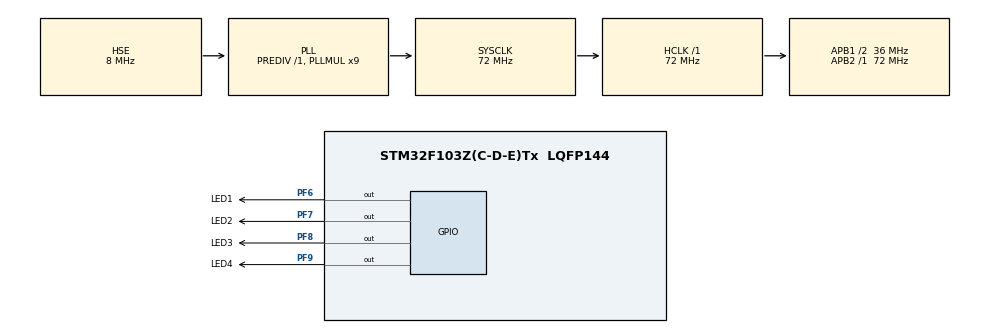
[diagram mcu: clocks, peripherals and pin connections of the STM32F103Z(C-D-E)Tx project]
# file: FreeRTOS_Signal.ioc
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FREERTOS.INCLUDE_eTaskGetState=0
FREERTOS.INCLUDE_vTaskDelayUntil=1
FREERTOS.Tasks01=firstLEDTask,0,128,StartFirstLEDTask,Default;secondLEDTask,-3,128,StartSecondLEDTask,Default;signalGenerator,-3,128,StartSignalGenerator,Default
Mcu.Family=STM32F1
Mcu.Name=STM32F103Z(C-D-E)Tx
Mcu.Package=LQFP144
NVIC.PriorityGroup=NVIC_PRIORITYGROUP_4
NVIC.TIM1_UP_IRQn=true\:0\:0\:false\:false\:true\:false
NVIC.TimeBase=TIM1_UP_IRQn
NVIC.TimeBaseIP=TIM1
OSC_IN.Mode=HSE-External-Oscillator
OSC_IN.Signal=RCC_OSC_IN
OSC_OUT.Mode=HSE-External-Oscillator
OSC_OUT.Signal=RCC_OSC_OUT
PF6.GPIO_Label=LED1
PF6.Signal=GPIO_Output
PF7.GPIO_Label=LED2
PF7.Signal=GPIO_Output
PF8.GPIO_Label=LED3
PF8.Signal=GPIO_Output
PF9.GPIO_Label=LED4
PF9.Signal=GPIO_Output
ProjectManager.HeapSize=0x200
ProjectManager.StackSize=0x400
ProjectManager.TargetToolchain=MDK-ARM V5
RCC.AHBFreq_Value=72000000
RCC.APB1CLKDivider=RCC_HCLK_DIV2
RCC.APB1Freq_Value=36000000
RCC.APB1TimFreq_Value=72000000
RCC.APB2Freq_Value=72000000
RCC.APB2TimFreq_Value=72000000
RCC.HCLKFreq_Value=72000000
RCC.HSIState=RCC_HSI_ON
RCC.PLLMUL=RCC_PLL_MUL9
RCC.PLLSourceVirtual=RCC_PLLSOURCE_HSE
RCC.SYSCLKFreq_VALUE=72000000
RCC.SYSCLKSource=RCC_SYSCLKSOURCE_PLLCLK
RCC.USBFreq_Value=72000000
VP_FREERTOS_VS_ENABLE.Mode=Enabled
VP_SYS_VS_ND.Mode=No_Debug
VP_SYS_VS_tim1.Mode=TIM1
board=FreeRTOS_Signal

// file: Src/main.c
/**
  ******************************************************************************
  * File Name          : main.c
  * Description        : Main program body
  ******************************************************************************
  *
  * Copyright (c) 2016 STMicroelectronics International N.V.
  * All rights reserved.
  *
  * Redistribution and use in source and binary forms, with or without
  * modification, are permitted, provided that the following conditions are met:
  *
  * 1. Redistribution of source code must retain the above copyright notice,
  *    this list of conditions and the following disclaimer.
  * 2. Redistributions in binary form must reproduce the above copyright notice,
  *    this list of conditions and the following disclaimer in the documentation
  *    and/or other materials provided with the distribution.
  * 3. Neither the name of STMicroelectronics nor the names of other
  *    contributors to this software may be used to endorse or promote products
  *    derived from this software without specific written permission.
  * 4. This software, including modifications and/or derivative works of this
  *    software, must execute solely and exclusively on microcontroller or
  *    microprocessor devices manufactured by or for STMicroelectronics.
  * 5. Redistribution and use of this software other than as permitted under
  *    this license is void and will automatically terminate your rights under
  *    this license.
  *
  * THIS SOFTWARE IS PROVIDED BY STMICROELECTRONICS AND CONTRIBUTORS "AS IS"
  * AND ANY EXPRESS, IMPLIED OR STATUTORY WARRANTIES, INCLUDING, BUT NOT
  * LIMITED TO, THE IMPLIED WARRANTIES OF MERCHANTABILITY, FITNESS FOR A
  * PARTICULAR PURPOSE AND NON-INFRINGEMENT OF THIRD PARTY INTELLECTUAL PROPERTY
  * RIGHTS ARE DISCLAIMED TO THE FULLEST EXTENT PERMITTED BY LAW. IN NO EVENT
  * SHALL STMICROELECTRONICS OR CONTRIBUTORS BE LIABLE FOR ANY DIRECT, INDIRECT,
  * INCIDENTAL, SPECIAL, EXEMPLARY, OR CONSEQUENTIAL DAMAGES (INCLUDING, BUT NOT
  * LIMITED TO, PROCUREMENT OF SUBSTITUTE GOODS OR SERVICES; LOSS OF USE, DATA,
  * OR PROFITS; OR BUSINESS INTERRUPTION) HOWEVER CAUSED AND ON ANY THEORY OF
  * LIABILITY, WHETHER IN CONTRACT, STRICT LIABILITY, OR TORT (INCLUDING
  * NEGLIGENCE OR OTHERWISE) ARISING IN ANY WAY OUT OF THE USE OF THIS SOFTWARE,
  * EVEN IF ADVISED OF THE POSSIBILITY OF SUCH DAMAGE.
  *
  ******************************************************************************
  */
#include "main.h"
#include "stm32f1xx_hal.h"
#include "cmsis_os.h"
#include "gpio.h"

/* USER CODE BEGIN PV */
/* Private variables ---------------------------------------------------------*/

/* USER CODE END PV */

void SystemClock_Config(void);
void Error_Handler(void);
void MX_FREERTOS_Init(void);

/* USER CODE BEGIN PFP */
/* Private function prototypes -----------------------------------------------*/

/* USER CODE END PFP */

int main(void)
{

  /* MCU Configuration----------------------------------------------------------*/

  /* Reset of all peripherals, Initializes the Flash interface and the Systick. */
  HAL_Init();

  /* Configure the system clock */
  SystemClock_Config();

  /* Initialize all configured peripherals */
  MX_GPIO_Init();

  /* Call init function for freertos objects (in freertos.c) */
  MX_FREERTOS_Init();

  /* Start scheduler */
  osKernelStart();

  /* We should never get here as control is now taken by the scheduler */

  /* Infinite loop */
  while (1)
  {

  }

}

/** System Clock Configuration
*/
void SystemClock_Config(void)
{

  RCC_OscInitTypeDef RCC_OscInitStruct;
  RCC_ClkInitTypeDef RCC_ClkInitStruct;

    /**Initializes the CPU, AHB and APB busses clocks
    */
  RCC_OscInitStruct.OscillatorType = RCC_OSCILLATORTYPE_HSE;
  RCC_OscInitStruct.HSEState = RCC_HSE_ON;
  RCC_OscInitStruct.HSEPredivValue = RCC_HSE_PREDIV_DIV1;
  RCC_OscInitStruct.HSIState = RCC_HSI_ON;
  RCC_OscInitStruct.PLL.PLLState = RCC_PLL_ON;
  RCC_OscInitStruct.PLL.PLLSource = RCC_PLLSOURCE_HSE;
  RCC_OscInitStruct.PLL.PLLMUL = RCC_PLL_MUL9;
  if (HAL_RCC_OscConfig(&RCC_OscInitStruct) != HAL_OK)
  {
    Error_Handler();
  }

    /**Initializes the CPU, AHB and APB busses clocks
    */
  RCC_ClkInitStruct.ClockType = RCC_CLOCKTYPE_HCLK|RCC_CLOCKTYPE_SYSCLK
                              |RCC_CLOCKTYPE_PCLK1|RCC_CLOCKTYPE_PCLK2;
  RCC_ClkInitStruct.SYSCLKSource = RCC_SYSCLKSOURCE_PLLCLK;
  RCC_ClkInitStruct.AHBCLKDivider = RCC_SYSCLK_DIV1;
  RCC_ClkInitStruct.APB1CLKDivider = RCC_HCLK_DIV2;
  RCC_ClkInitStruct.APB2CLKDivider = RCC_HCLK_DIV1;

  if (HAL_RCC_ClockConfig(&RCC_ClkInitStruct, FLASH_LATENCY_2) != HAL_OK)
  {
    Error_Handler();
  }

    /**Configure the Systick interrupt time
    */
  HAL_SYSTICK_Config(HAL_RCC_GetHCLKFreq()/1000);

    /**Configure the Systick
    */
  HAL_SYSTICK_CLKSourceConfig(SYSTICK_CLKSOURCE_HCLK);

  /* SysTick_IRQn interrupt configuration */
  HAL_NVIC_SetPriority(SysTick_IRQn, 15, 0);
}

void HAL_TIM_PeriodElapsedCallback(TIM_HandleTypeDef *htim)
{
  if (htim->Instance == TIM1) {
    HAL_IncTick();
  }
}

void Error_Handler(void)
{
  while(1)
  {
  }
}

/************************ (C) COPYRIGHT STMicroelectronics *****END OF FILE****/

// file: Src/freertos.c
/**
  ******************************************************************************
  * File Name          : freertos.c
  * Description        : Code for freertos applications
  ******************************************************************************
  *
  * Copyright (c) 2016 STMicroelectronics International N.V.
  * All rights reserved.
  *
  * Redistribution and use in source and binary forms, with or without
  * modification, are permitted, provided that the following conditions are met:
  *
  * 1. Redistribution of source code must retain the above copyright notice,
  *    this list of conditions and the following disclaimer.
  * 2. Redistributions in binary form must reproduce the above copyright notice,
  *    this list of conditions and the following disclaimer in the documentation
  *    and/or other materials provided with the distribution.
  * 3. Neither the name of STMicroelectronics nor the names of other
  *    contributors to this software may be used to endorse or promote products
  *    derived from this software without specific written permission.
  * 4. This software, including modifications and/or derivative works of this
  *    software, must execute solely and exclusively on microcontroller or
  *    microprocessor devices manufactured by or for STMicroelectronics.
  * 5. Redistribution and use of this software other than as permitted under
  *    this license is void and will automatically terminate your rights under
  *    this license.
  *
  * THIS SOFTWARE IS PROVIDED BY STMICROELECTRONICS AND CONTRIBUTORS "AS IS"
  * AND ANY EXPRESS, IMPLIED OR STATUTORY WARRANTIES, INCLUDING, BUT NOT
  * LIMITED TO, THE IMPLIED WARRANTIES OF MERCHANTABILITY, FITNESS FOR A
  * PARTICULAR PURPOSE AND NON-INFRINGEMENT OF THIRD PARTY INTELLECTUAL PROPERTY
  * RIGHTS ARE DISCLAIMED TO THE FULLEST EXTENT PERMITTED BY LAW. IN NO EVENT
  * SHALL STMICROELECTRONICS OR CONTRIBUTORS BE LIABLE FOR ANY DIRECT, INDIRECT,
  * INCIDENTAL, SPECIAL, EXEMPLARY, OR CONSEQUENTIAL DAMAGES (INCLUDING, BUT NOT
  * LIMITED TO, PROCUREMENT OF SUBSTITUTE GOODS OR SERVICES; LOSS OF USE, DATA,
  * OR PROFITS; OR BUSINESS INTERRUPTION) HOWEVER CAUSED AND ON ANY THEORY OF
  * LIABILITY, WHETHER IN CONTRACT, STRICT LIABILITY, OR TORT (INCLUDING
  * NEGLIGENCE OR OTHERWISE) ARISING IN ANY WAY OUT OF THE USE OF THIS SOFTWARE,
  * EVEN IF ADVISED OF THE POSSIBILITY OF SUCH DAMAGE.
  *
  ******************************************************************************
  */

#include "FreeRTOS.h"
#include "task.h"
#include "cmsis_os.h"

/* USER CODE BEGIN Includes */
#include "gpio.h"
/* USER CODE END Includes */

osThreadId firstLEDTaskHandle;
osThreadId secondLEDTaskHandle;
osThreadId signalGeneratorHandle;

/* USER CODE BEGIN Variables */
#define BIT_0  ( 1 << 0 )
#define BIT_1  ( 1 << 1 )
#define BIT_2  ( 1 << 2 )
/* USER CODE END Variables */

void StartFirstLEDTask(void const * argument);
void StartSecondLEDTask(void const * argument);
void StartSignalGenerator(void const * argument);

void MX_FREERTOS_Init(void); /* (MISRA C 2004 rule 8.1) */

/* Hook prototypes */

/* Init FreeRTOS */

void MX_FREERTOS_Init(void) {

  /* Create the thread(s) */
  /* definition and creation of firstLEDTask */
  osThreadDef(firstLEDTask, StartFirstLEDTask, osPriorityNormal, 0, 128);
  firstLEDTaskHandle = osThreadCreate(osThread(firstLEDTask), NULL);

  /* definition and creation of secondLEDTask */
  osThreadDef(secondLEDTask, StartSecondLEDTask, osPriorityIdle, 0, 128);
  secondLEDTaskHandle = osThreadCreate(osThread(secondLEDTask), NULL);

  /* definition and creation of signalGenerator */
  osThreadDef(signalGenerator, StartSignalGenerator, osPriorityIdle, 0, 128);
  signalGeneratorHandle = osThreadCreate(osThread(signalGenerator), NULL);

}

/* StartFirstLEDTask function */
void StartFirstLEDTask(void const * argument)
{

  /* USER CODE BEGIN StartFirstLEDTask */
  (void) argument;
  osEvent event;
  /* Infinite loop */
  for(;;)
  {
    event = osSignalWait(BIT_0, osWaitForever);
    if(event.value.signals == BIT_0)
    {
      BSP_LED_Toggle(LED1);
    }
  }
  /* USER CODE END StartFirstLEDTask */
}

/* StartSecondLEDTask function */
void StartSecondLEDTask(void const * argument)
{
  /* USER CODE BEGIN StartSecondLEDTask */
  (void) argument;
  osEvent event;
  /* Infinite loop */
  for(;;)
  {
    event = osSignalWait(BIT_1 | BIT_2, osWaitForever);
    if(event.value.signals == (BIT_1 | BIT_2))
    {
      BSP_LED_Toggle(LED2);
    }
  }
  /* USER CODE END StartSecondLEDTask */
}

/* StartSignalGenerator function */
void StartSignalGenerator(void const * argument)
{
  /* USER CODE BEGIN StartSignalGenerator */
  (void) argument;
  /* Infinite loop */
  for(;;)
  {
    osSignalSet(firstLEDTaskHandle, BIT_0);
    osDelay(500);
    osSignalSet(secondLEDTaskHandle, BIT_1 | BIT_2);
    osDelay(500);
  }
  /* USER CODE END StartSignalGenerator */
}

/************************ (C) COPYRIGHT STMicroelectronics *****END OF FILE****/
